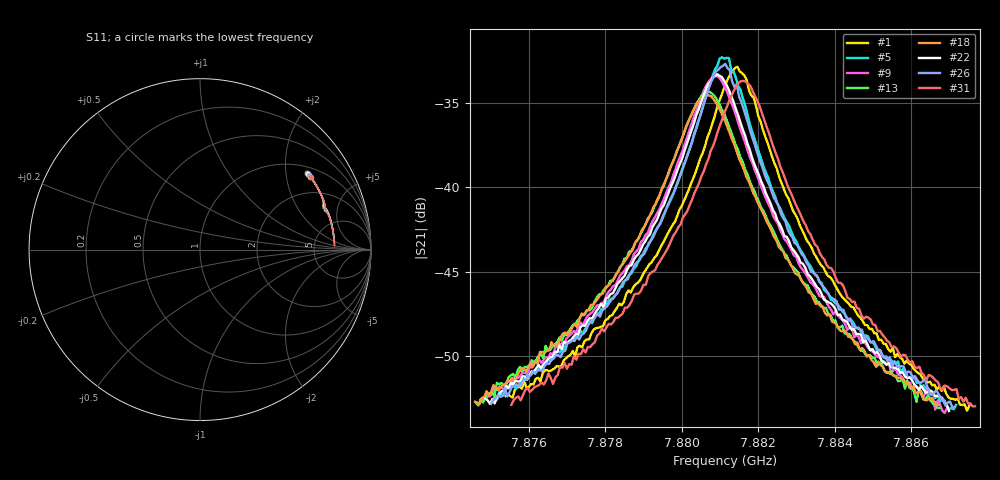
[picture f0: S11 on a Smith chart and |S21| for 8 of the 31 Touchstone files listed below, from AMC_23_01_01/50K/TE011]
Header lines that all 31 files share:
#  HZ  S  DB  R  50.00
! Rohde & Schwarz Vector Network Analyzer
! Rohde-Schwarz,ZNB20-2Port,1311601062101988,3.16
! freq[Hz]  db:S11  ang:S11  db:S21  ang:S21  db:S12  ang:S12  db:S22  ang:S22
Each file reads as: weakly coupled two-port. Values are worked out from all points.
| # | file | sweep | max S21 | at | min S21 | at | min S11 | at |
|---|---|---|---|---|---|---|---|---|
| 1 | 22_ST43.003_UT51.952_H5012.44.s2p | 7.87539 GHz to 7.88752 GHz | -32.87 dB | 7.88146 GHz | -53.2 dB | 7.88746 GHz | -2.4 dB | 7.88146 GHz |
| 2 | 31_ST43.0_UT51.95_H12414.02.s2p | 7.87507 GHz to 7.8872 GHz | -32.27 dB | 7.88114 GHz | -53.3 dB | 7.8872 GHz | -2.4 dB | 7.88114 GHz |
| 3 | 33_ST43.0_UT51.947_H14069.77.s2p | 7.87508 GHz to 7.88721 GHz | -32.28 dB | 7.88121 GHz | -53.5 dB | 7.88715 GHz | -2.4 dB | 7.88114 GHz |
| 4 | 34_ST43.001_UT51.946_H14916.35.s2p | 7.87506 GHz to 7.88719 GHz | -32.39 dB | 7.88113 GHz | -53.4 dB | 7.88719 GHz | -2.4 dB | 7.88113 GHz |
| 5 | 37_ST42.999_UT51.94_H17383.04.s2p | 7.87504 GHz to 7.88718 GHz | -32.30 dB | 7.88105 GHz | -53.2 dB | 7.88711 GHz | -2.4 dB | 7.88111 GHz |
| 6 | 59_ST42.996_UT51.89_H35422.65.s2p | 7.87489 GHz to 7.88702 GHz | -33.03 dB | 7.88101 GHz | -53.1 dB | 7.88696 GHz | -2.4 dB | 7.88095 GHz |
| 7 | 67_ST42.997_UT51.87_H42029.98.s2p | 7.87484 GHz to 7.88697 GHz | -33.30 dB | 7.88091 GHz | -53.2 dB | 7.88697 GHz | -2.4 dB | 7.88091 GHz |
| 8 | 68_ST43.001_UT51.867_H42822.5.s2p | 7.87483 GHz to 7.88696 GHz | -33.33 dB | 7.8809 GHz | -53.4 dB | 7.8869 GHz | -2.4 dB | 7.8809 GHz |
| 9 | 72_ST42.998_UT51.854_H46062.29.s2p | 7.87481 GHz to 7.88694 GHz | -33.42 dB | 7.88087 GHz | -53.4 dB | 7.88688 GHz | -2.4 dB | 7.88087 GHz |
| 10 | 98_ST43.001_UT51.773_H67459.34.s2p | 7.87466 GHz to 7.88679 GHz | -34.10 dB | 7.88073 GHz | -53.1 dB | 7.88679 GHz | -2.3 dB | 7.88067 GHz |
| 11 | 99_ST43.0_UT51.768_H68326.01.s2p | 7.87466 GHz to 7.88679 GHz | -34.15 dB | 7.88073 GHz | -53.1 dB | 7.88673 GHz | -2.3 dB | 7.88073 GHz |
| 12 | 106_ST43.0_UT51.746_H74065.49.s2p | 7.87463 GHz to 7.88676 GHz | -34.30 dB | 7.88069 GHz | -52.9 dB | 7.88676 GHz | -2.3 dB | 7.88075 GHz |
| 13 | 108_ST43.001_UT51.741_H75761.93.s2p | 7.87462 GHz to 7.88675 GHz | -34.34 dB | 7.88068 GHz | -53.1 dB | 7.88675 GHz | -2.3 dB | 7.88068 GHz |
| 14 | 119_ST43.001_UT51.705_H84767.87.s2p | 7.87456 GHz to 7.88669 GHz | -34.60 dB | 7.88062 GHz | -53.1 dB | 7.88651 GHz | -2.3 dB | 7.88068 GHz |
| 15 | 127_ST42.999_UT51.686_H89611.05.s2p | 7.87454 GHz to 7.88667 GHz | -34.73 dB | 7.88061 GHz | -53.0 dB | 7.88667 GHz | -2.3 dB | 7.88061 GHz |
| 16 | 135_ST43.004_UT51.708_H83006.15.s2p | 7.87458 GHz to 7.88671 GHz | -34.57 dB | 7.8807 GHz | -53.0 dB | 7.88665 GHz | -2.3 dB | 7.88058 GHz |
| 17 | 136_ST42.999_UT51.712_H82233.77.s2p | 7.87458 GHz to 7.88671 GHz | -34.58 dB | 7.88065 GHz | -53.2 dB | 7.88671 GHz | -2.3 dB | 7.88059 GHz |
| 18 | 137_ST43.0_UT51.717_H81371.27.s2p | 7.87459 GHz to 7.88672 GHz | -34.52 dB | 7.88065 GHz | -52.9 dB | 7.88666 GHz | -2.3 dB | 7.88065 GHz |
| 19 | 144_ST42.999_UT51.744_H75660.86.s2p | 7.87462 GHz to 7.88675 GHz | -34.36 dB | 7.88069 GHz | -53.2 dB | 7.88675 GHz | -2.3 dB | 7.88069 GHz |
| 20 | 153_ST43.002_UT51.782_H68333.91.s2p | 7.87467 GHz to 7.8868 GHz | -34.17 dB | 7.88074 GHz | -53.1 dB | 7.88662 GHz | -2.3 dB | 7.8808 GHz |
| 21 | 169_ST42.998_UT51.849_H55242.48.s2p | 7.87477 GHz to 7.8869 GHz | -33.75 dB | 7.8809 GHz | -53.1 dB | 7.88684 GHz | -2.4 dB | 7.88084 GHz |
| 22 | 183_ST43.0_UT51.904_H43713.07.s2p | 7.87486 GHz to 7.88699 GHz | -33.30 dB | 7.88093 GHz | -53.3 dB | 7.88699 GHz | -2.4 dB | 7.88093 GHz |
| 23 | 186_ST42.998_UT51.915_H41306.34.s2p | 7.87488 GHz to 7.88701 GHz | -33.28 dB | 7.881 GHz | -53.0 dB | 7.88683 GHz | -2.4 dB | 7.88094 GHz |
| 24 | 187_ST42.999_UT51.922_H40462.38.s2p | 7.87489 GHz to 7.88702 GHz | -33.23 dB | 7.88095 GHz | -53.2 dB | 7.8869 GHz | -2.4 dB | 7.88095 GHz |
| 25 | 199_ST43.0_UT51.966_H30655.36.s2p | 7.87498 GHz to 7.88711 GHz | -32.61 dB | 7.88104 GHz | -53.3 dB | 7.87498 GHz | -2.4 dB | 7.88104 GHz |
| 26 | 203_ST43.001_UT51.979_H27365.15.s2p | 7.87501 GHz to 7.88714 GHz | -32.69 dB | 7.88113 GHz | -53.0 dB | 7.88708 GHz | -2.4 dB | 7.88113 GHz |
| 27 | 205_ST42.999_UT51.986_H25710.92.s2p | 7.87501 GHz to 7.88715 GHz | -32.49 dB | 7.8812 GHz | -53.1 dB | 7.88708 GHz | -2.4 dB | 7.88108 GHz |
| 28 | 208_ST43.002_UT51.995_H23247.18.s2p | 7.87504 GHz to 7.88717 GHz | -32.71 dB | 7.88111 GHz | -52.9 dB | 7.87504 GHz | -2.4 dB | 7.88111 GHz |
| 29 | 213_ST42.999_UT52.009_H19165.33.s2p | 7.87507 GHz to 7.8872 GHz | -32.38 dB | 7.88114 GHz | -53.4 dB | 7.88714 GHz | -2.4 dB | 7.88114 GHz |
| 30 | 228_ST43.002_UT52.039_H6877.87.s2p | 7.87529 GHz to 7.88742 GHz | -34.02 dB | 7.88148 GHz | -53.0 dB | 7.88742 GHz | -2.3 dB | 7.88142 GHz |
| 31 | 236_ST43.003_UT52.045_H303.32.s2p | 7.87554 GHz to 7.88767 GHz | -33.70 dB | 7.88161 GHz | -53.0 dB | 7.88761 GHz | -2.4 dB | 7.88161 GHz |
